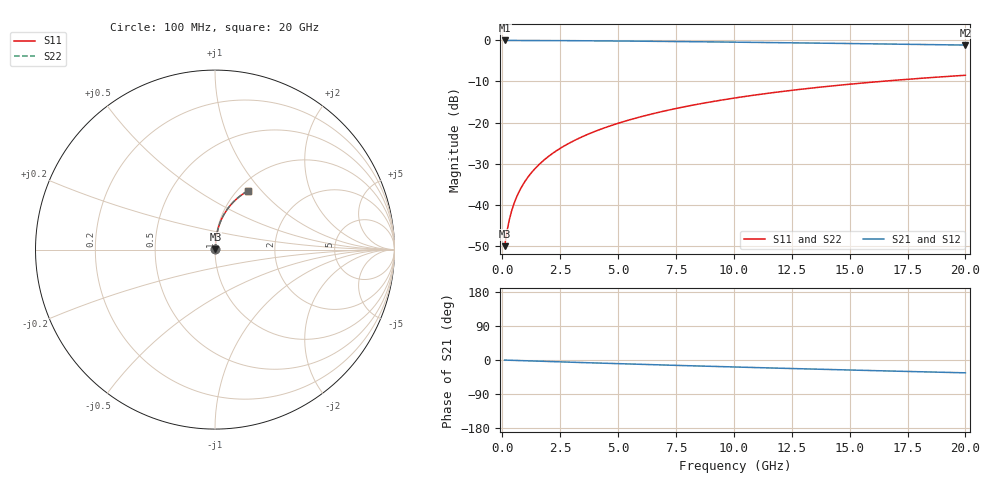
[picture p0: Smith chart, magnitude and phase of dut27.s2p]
! Touchstone file exported from HFSS 2024.1.0
!  File:  C:/UserFiles/LocalFiles/RDL_TSV_Batchsim/temp_RDL_bottom_27_1778691986.aedt
!  Generated:  01:09:14 AM May 14, 2026
!  Design:  RDL_bottom
!  Project:  temp_RDL_bottom_27_1778691986
!  Setup:  Setup1
!  Solution:  Sweep
! Variables:
!  dtsv = 10.80580581um
!  hbump = 3um
!  htsv = 88.69um
!  ldown = 408.7um
!  lrdl = 100um
!  p = 40
!  p1 = 59.17um
!  rhole = 1um
!  t = 450um
!  tdown = 3.54um
!  trdl = 3.915915916um
!  wdown = 18.42um
!  wrdl = 20um
# GHz S MA R 50.000000
! Terminal data exported
! Port[1] = RDL1_T1
! Port[2] = RDL1_T2
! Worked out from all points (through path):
!   200 points, 100 MHz to 20 GHz, reference 50 ohm
!   highest |S21| = -0.02 dB at 100 MHz (marker M1); lowest = -1.1 dB at 20 GHz (marker M2)
!   group delay of S21, straight-line fit = 4.68 ps
!   lowest |S11| = -50.1 dB at 100 MHz (marker M3), VSWR 1.01, Z = 50.2 + j0.205 ohm
!   |S11| at or under -10 dB: start of sweep to 16.32 GHz
!   |S22| runs from -50.1 to -8.5 dB; largest |S21 - S12| = 3.2e-15
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0.1  0.003143 40.4  0.9976 -0.2  0.9976 -0.2  0.003143 40.4
! Gamma 0 0 0 0
! Port Impedance 50 0 50 0
0.2  0.004738 58.6  0.9975 -0.4  0.9975 -0.4  0.004738 58.6
0.3  0.006532 66.9  0.9974 -0.6  0.9974 -0.6  0.006532 66.9
0.4  0.008376 71.5  0.9973 -0.8  0.9973 -0.8  0.008375 71.5
0.5  0.01024 74.4  0.9972 -1.0  0.9972 -1.0  0.01024 74.4
0.6  0.01211 76.5  0.997 -1.2  0.997 -1.2  0.01211 76.5
0.8  0.01587 79.2  0.9968 -1.6  0.9968 -1.6  0.01587 79.2
1.1  0.02157 81.4  0.9964 -2.2  0.9964 -2.2  0.02157 81.4
1.5  0.02923 82.9  0.9957 -3.0  0.9957 -3.0  0.02923 82.9
1.8  0.03501 83.5  0.9951 -3.6  0.9951 -3.6  0.03501 83.5
2.1  0.04082 83.9  0.9943 -4.1  0.9943 -4.1  0.04082 83.9
2.7  0.05251 84.1  0.9926 -5.3  0.9926 -5.3  0.05251 84.1
3.5  0.06823 83.9  0.9896 -6.8  0.9896 -6.8  0.06823 83.9
4.2  0.0821 83.4  0.9866 -8.2  0.9866 -8.2  0.08211 83.4
5  0.09807 82.7  0.9828 -9.7  0.9828 -9.7  0.09809 82.7
5.9  0.1162 81.7  0.9779 -11.3  0.9779 -11.3  0.1162 81.7
6.8  0.1343 80.6  0.9727 -12.9  0.9727 -12.9  0.1343 80.6
8.4  0.1665 78.3  0.9626 -15.7  0.9626 -15.7  0.1666 78.4
10.1  0.2004 75.8  0.9512 -18.6  0.9512 -18.6  0.2005 75.8
13.4  0.2638 70.6  0.9276 -23.9  0.9276 -23.9  0.264 70.7
16.7  0.3228 65.5  0.9026 -29.0  0.9026 -29.0  0.3229 65.6
20  0.3764 60.5  0.8767 -33.9  0.8767 -33.9  0.3766 60.6
